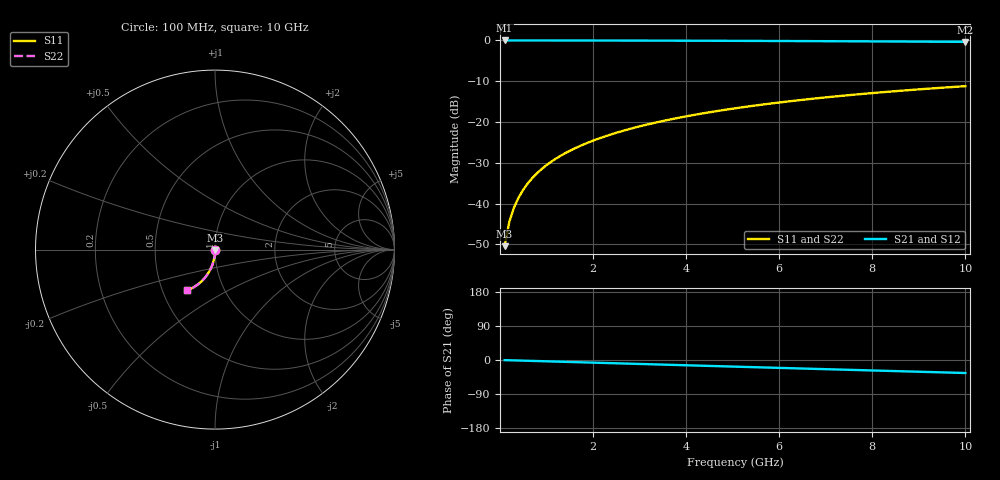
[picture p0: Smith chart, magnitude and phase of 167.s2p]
# Hz S RI R 50.00
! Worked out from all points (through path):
!   100 points, 100 MHz to 10 GHz, reference 50 ohm
!   highest |S21| = 0.00 dB at 100 MHz (marker M1); lowest = -0.4 dB at 10 GHz (marker M2)
!   group delay of S21, straight-line fit = 9.55 ps
!   lowest |S11| = -50.5 dB at 100 MHz (marker M3), VSWR 1.01, Z = 50 - j0.296 ohm
!   |S11| at or under -10 dB: start of sweep to end of sweep
!   |S22| runs from -50.5 to -11.2 dB; largest |S21 - S12| = 0
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1e8  0.000497 -0.00296  0.9995 -0.00606  0.9995 -0.00606  0.000497 -0.00296
2e8  0.000442 -0.00592  0.9994 -0.0121  0.9994 -0.0121  0.000442 -0.00592
3e8  0.000351 -0.00888  0.9993 -0.0182  0.9993 -0.0182  0.000351 -0.00888
4e8  0.000223 -0.0118  0.9991 -0.0242  0.9991 -0.0242  0.000223 -0.0118
5e8  5.93e-05 -0.0148  0.9989 -0.0303  0.9989 -0.0303  5.93e-05 -0.0148
6e8  -0.000141 -0.0177  0.9986 -0.0363  0.9986 -0.0363  -0.000141 -0.0177
7e8  -0.000376 -0.0207  0.9983 -0.0424  0.9983 -0.0424  -0.000376 -0.0207
8e8  -0.000648 -0.0236  0.998 -0.0485  0.998 -0.0485  -0.000648 -0.0236
9e8  -0.000956 -0.0266  0.9976 -0.0545  0.9976 -0.0545  -0.000956 -0.0266
1.1e9  -0.00168 -0.0325  0.9967 -0.0666  0.9967 -0.0666  -0.00168 -0.0325
1.4e9  -0.00303 -0.0413  0.9949 -0.0847  0.9949 -0.0847  -0.00303 -0.0413
1.8e9  -0.00533 -0.0529  0.992 -0.1087  0.992 -0.1087  -0.00533 -0.0529
2.1e9  -0.00742 -0.0615  0.9894 -0.1267  0.9894 -0.1267  -0.00742 -0.0615
2.5e9  -0.0107 -0.0729  0.9852 -0.1506  0.9852 -0.1506  -0.0107 -0.0729
2.9e9  -0.0145 -0.0842  0.9803 -0.1742  0.9803 -0.1742  -0.0145 -0.0842
3.4e9  -0.0201 -0.0979  0.9732 -0.2036  0.9732 -0.2036  -0.0201 -0.0979
4.2e9  -0.0306 -0.1191  0.9597 -0.2498  0.9597 -0.2498  -0.0306 -0.1191
5.1e9  -0.0448 -0.1415  0.9413 -0.3004  0.9413 -0.3004  -0.0448 -0.1415
5.9e9  -0.0593 -0.16  0.9224 -0.344  0.9224 -0.344  -0.0593 -0.16
6.7e9  -0.0754 -0.1769  0.9012 -0.3861  0.9012 -0.3861  -0.0754 -0.1769
8.4e9  -0.1142 -0.2069  0.8493 -0.4701  0.8493 -0.4701  -0.1142 -0.2069
1e10  -0.1548 -0.2272  0.7932 -0.5414  0.7932 -0.5414  -0.1548 -0.2272
